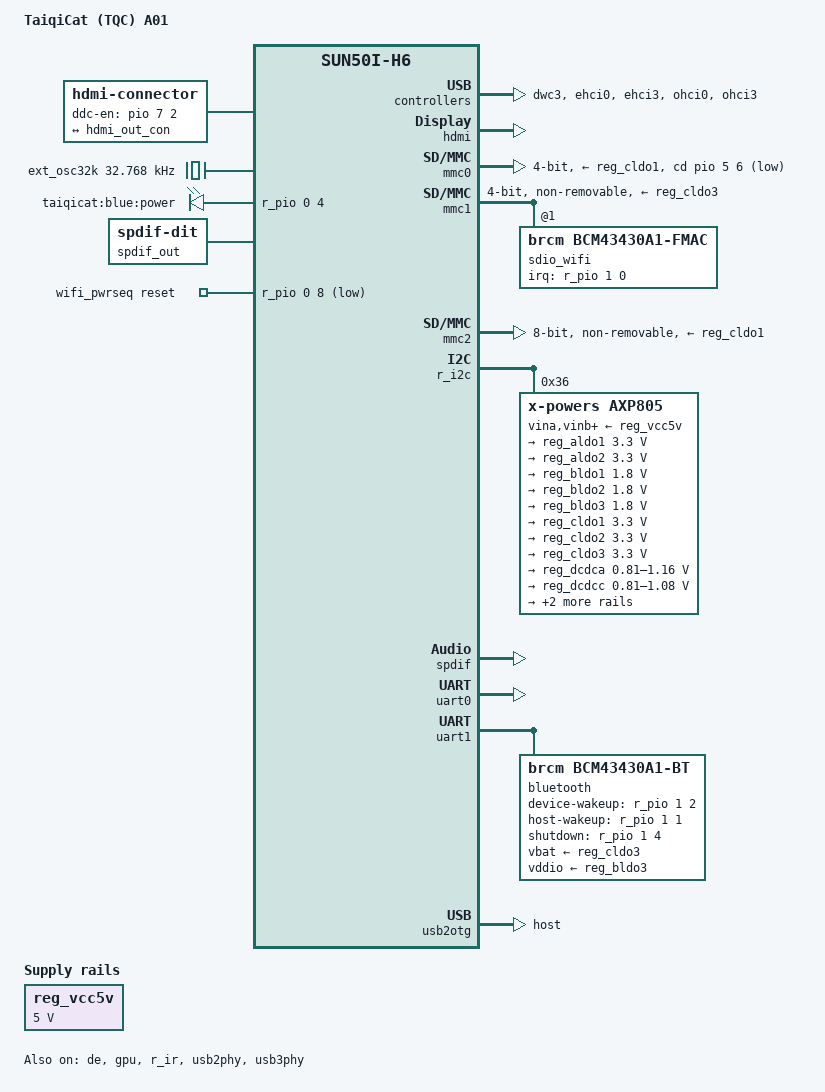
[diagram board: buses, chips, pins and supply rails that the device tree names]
// SPDX-License-Identifier: (GPL-2.0+ OR MIT)
// Copyright (C) 2026 Jun Yan <jerrysteve1101@gmail.com>

/dts-v1/;

#include "sun50i-h6.dtsi"
#include "sun50i-h6-cpu-opp.dtsi"
#include "sun50i-h6-gpu-opp.dtsi"

#include <dt-bindings/gpio/gpio.h>

/ {
	model = "TaiqiCat (TQC) A01";
	compatible = "ultrapower,taiqicat-a01", "allwinner,sun50i-h6";

	aliases {
		ethernet1 = &sdio_wifi;
		serial0 = &uart0;
	};

	chosen {
		stdout-path = "serial0:115200n8";
	};

	connector {
		compatible = "hdmi-connector";
		ddc-en-gpios = <&pio 7 2 GPIO_ACTIVE_HIGH>; /* PH2 */
		type = "a";

		port {
			hdmi_con_in: endpoint {
				remote-endpoint = <&hdmi_out_con>;
			};
		};
	};

	ext_osc32k: ext-osc32k-clk {
		#clock-cells = <0>;
		compatible = "fixed-clock";
		clock-frequency = <32768>;
		clock-output-names = "ext_osc32k";
	};

	leds {
		compatible = "gpio-leds";

		led-0 {
			label = "taiqicat:blue:power";
			gpios = <&r_pio 0 4 GPIO_ACTIVE_HIGH>; /* PL4 */
			default-state = "on";
		};
	};

	reg_vcc5v: vcc5v {
		/* board wide 5V supply directly from the DC jack */
		compatible = "regulator-fixed";
		regulator-name = "vcc-5v";
		regulator-min-microvolt = <5000000>;
		regulator-max-microvolt = <5000000>;
		regulator-always-on;
	};

	sound-spdif {
		compatible = "simple-audio-card";
		simple-audio-card,name = "sun50i-h6-spdif";

		simple-audio-card,cpu {
			sound-dai = <&spdif>;
		};

		simple-audio-card,codec {
			sound-dai = <&spdif_out>;
		};
	};

	spdif_out: spdif-out {
		#sound-dai-cells = <0>;
		compatible = "linux,spdif-dit";
	};

	wifi_pwrseq: wifi-pwrseq {
		compatible = "mmc-pwrseq-simple";
		clocks = <&rtc CLK_OSC32K_FANOUT>;
		clock-names = "ext_clock";
		reset-gpios = <&r_pio 0 8 GPIO_ACTIVE_LOW>; /* PL8 */
		post-power-on-delay-ms = <200>;
	};
};

&cpu0 {
	cpu-supply = <&reg_dcdca>;
};

&de {
	status = "okay";
};

&dwc3 {
	status = "okay";
};

&ehci0 {
	status = "okay";
};

&ehci3 {
	status = "okay";
};

&gpu {
	mali-supply = <&reg_dcdcc>;
	status = "okay";
};

&hdmi {
	hvcc-supply = <&reg_bldo2>;
	status = "okay";
};

&hdmi_out {
	hdmi_out_con: endpoint {
		remote-endpoint = <&hdmi_con_in>;
	};
};

&mmc0 {
	vmmc-supply = <&reg_cldo1>;
	cd-gpios = <&pio 5 6 GPIO_ACTIVE_LOW>; /* PF6 */
	bus-width = <4>;
	disable-wp;
	status = "okay";
};

&mmc1 {
	vmmc-supply = <&reg_cldo3>;
	vqmmc-supply = <&reg_bldo3>;
	mmc-pwrseq = <&wifi_pwrseq>;
	bus-width = <4>;
	non-removable;
	keep-power-in-suspend;
	status = "okay";

	sdio_wifi: wifi@1 {
		reg = <1>;
		compatible = "brcm,bcm43430a1-fmac", "brcm,bcm4329-fmac";
		interrupt-parent = <&r_pio>;
		interrupts = <1 0 IRQ_TYPE_LEVEL_LOW>; /* PM0 */
		interrupt-names = "host-wake";
	};
};

&mmc2 {
	vmmc-supply = <&reg_cldo1>;
	vqmmc-supply = <&reg_bldo2>;
	cap-mmc-hw-reset;
	non-removable;
	mmc-hs200-1_8v;
	bus-width = <8>;
	status = "okay";
};

&ohci0 {
	status = "okay";
};

&ohci3 {
	status = "okay";
};

&pio {
	vcc-pc-supply = <&reg_bldo2>;
	vcc-pd-supply = <&reg_cldo1>;
	vcc-pg-supply = <&reg_bldo3>;
};

&r_i2c {
	status = "okay";

	axp805: pmic@36 {
		compatible = "x-powers,axp805", "x-powers,axp806";
		reg = <0x36>;
		interrupt-parent = <&r_intc>;
		interrupts = <GIC_SPI 96 IRQ_TYPE_LEVEL_LOW>;
		interrupt-controller;
		#interrupt-cells = <1>;
		x-powers,self-working-mode;
		vina-supply = <&reg_vcc5v>;
		vinb-supply = <&reg_vcc5v>;
		vinc-supply = <&reg_vcc5v>;
		vind-supply = <&reg_vcc5v>;
		vine-supply = <&reg_vcc5v>;
		aldoin-supply = <&reg_vcc5v>;
		bldoin-supply = <&reg_vcc5v>;
		cldoin-supply = <&reg_vcc5v>;

		regulators {
			reg_aldo1: aldo1 {
				regulator-always-on;
				regulator-min-microvolt = <3300000>;
				regulator-max-microvolt = <3300000>;
				regulator-name = "vcc-pl-led-ir-pg-pm-ts";
			};

			reg_aldo2: aldo2 {
				regulator-min-microvolt = <3300000>;
				regulator-max-microvolt = <3300000>;
				regulator-name = "vcc-ac200";
				regulator-enable-ramp-delay = <100000>;
			};

			aldo3 {
				/* unused */
			};

			reg_bldo1: bldo1 {
				regulator-always-on;
				regulator-min-microvolt = <1800000>;
				regulator-max-microvolt = <1800000>;
				regulator-name = "vcc18-dram-bias-pll";
			};

			reg_bldo2: bldo2 {
				regulator-always-on;
				regulator-min-microvolt = <1800000>;
				regulator-max-microvolt = <1800000>;
				regulator-name = "vcc-pc-emmc-efuse-hdmi";
			};

			reg_bldo3: bldo3 {
				regulator-always-on;
				regulator-min-microvolt = <1800000>;
				regulator-max-microvolt = <1800000>;
				regulator-name = "vcc-pg-wifiio";
			};

			bldo4 {
				/* unused */
			};

			reg_cldo1: cldo1 {
				regulator-always-on;
				regulator-min-microvolt = <3300000>;
				regulator-max-microvolt = <3300000>;
				regulator-name = "vcc33-io-pd-emmc-sd-usb-uart";
			};

			/* This regulator is connected with CLDO3 */
			reg_cldo2: cldo2 {
				regulator-always-on;
				regulator-min-microvolt = <3300000>;
				regulator-max-microvolt = <3300000>;
				regulator-name = "vcc-wifi-1";
			};

			reg_cldo3: cldo3 {
				regulator-min-microvolt = <3300000>;
				regulator-max-microvolt = <3300000>;
				regulator-name = "vcc-wifi-2";
			};

			reg_dcdca: dcdca {
				regulator-always-on;
				regulator-min-microvolt = <810000>;
				regulator-max-microvolt = <1160000>;
				regulator-ramp-delay = <2500>;
				regulator-name = "vdd-cpu";
			};

			reg_dcdcc: dcdcc {
				regulator-enable-ramp-delay = <32000>;
				regulator-min-microvolt = <810000>;
				regulator-max-microvolt = <1080000>;
				regulator-ramp-delay = <2500>;
				regulator-name = "vdd-gpu";
			};

			reg_dcdcd: dcdcd {
				regulator-always-on;
				regulator-min-microvolt = <960000>;
				regulator-max-microvolt = <960000>;
				regulator-name = "vdd-sys-hdmi-usb";
			};

			reg_dcdce: dcdce {
				regulator-always-on;
				regulator-min-microvolt = <1200000>;
				regulator-max-microvolt = <1200000>;
				regulator-name = "vcc-dram";
			};

			sw {
				/* unused */
			};
		};
	};
};

&r_ir {
	status = "okay";
};

&r_pio {
	/*
	 * PL0 and PL1 are used for PMIC I2C
	 * don't enable the pl-supply else
	 * it will fail at boot
	 *
	 * vcc-pl-supply = <&reg_aldo1>;
	 */
	vcc-pm-supply = <&reg_aldo1>;
};

&rtc {
	clocks = <&ext_osc32k>;
};

&spdif {
	pinctrl-names = "default";
	pinctrl-0 = <&spdif_tx_pin>;
	status = "okay";
};

&uart0 {
	pinctrl-names = "default";
	pinctrl-0 = <&uart0_ph_pins>;
	status = "okay";
};

&uart1 {
	pinctrl-names = "default";
	pinctrl-0 = <&uart1_pins>, <&uart1_rts_cts_pins>;
	uart-has-rtscts;
	status = "okay";

	bluetooth {
		compatible = "brcm,bcm43430a1-bt";
		clocks = <&rtc CLK_OSC32K_FANOUT>;
		clock-names = "lpo";
		vbat-supply = <&reg_cldo3>;
		vddio-supply = <&reg_bldo3>;
		device-wakeup-gpios = <&r_pio 1 2 GPIO_ACTIVE_HIGH>; /* PM2 */
		host-wakeup-gpios = <&r_pio 1 1 GPIO_ACTIVE_HIGH>; /* PM1 */
		shutdown-gpios = <&r_pio 1 4 GPIO_ACTIVE_HIGH>; /* PM4 */
		max-speed = <1500000>;
	};
};

&usb2otg {
	dr_mode = "host";
	status = "okay";
};

&usb2phy {
	usb0_vbus-supply = <&reg_vcc5v>;
	usb3_vbus-supply = <&reg_vcc5v>;
	status = "okay";
};

&usb3phy {
	status = "okay";
};
